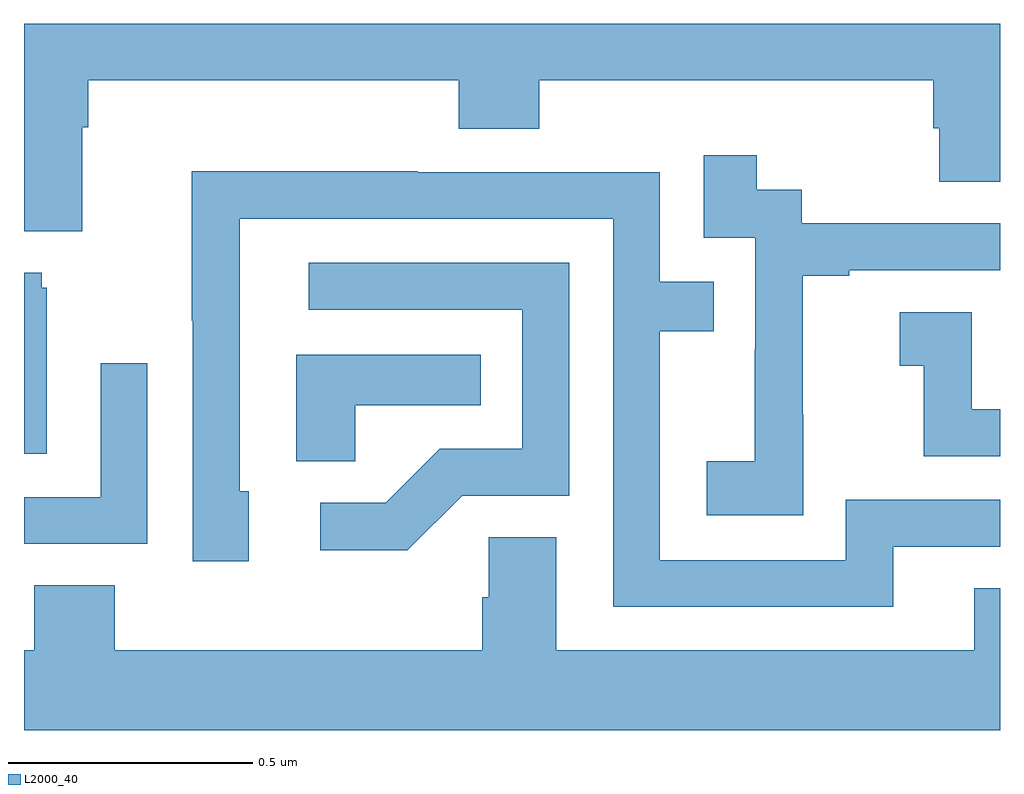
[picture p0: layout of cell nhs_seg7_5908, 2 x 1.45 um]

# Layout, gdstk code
import gdstk
lib = gdstk.Library(unit=1e-6, precision=1e-09)
def P(c, l, *ps):  # polygons
    for p in ps: c.add(gdstk.Polygon(p, *l))
L2000_40 = (2000, 40)

nhs_seg7_5908 = lib.new_cell('nhs_seg7_5908')
P(nhs_seg7_5908, L2000_40, [(191.119,1065.788),(191.132,1065.788),(191.132,1065.884),(191.891,1065.884),(191.891,1065.785),(192.056,1065.785),(192.056,1065.884),(192.863,1065.884),(192.863,1065.786),(192.875,1065.786),(192.875,1065.676),(193,1065.676),(193,1066),(191,1066),(191,1065.575),(191.119,1065.575)],
  [(192.597,1065.199),(192.596,1065.199),(192.596,1065.483),(192.691,1065.483),(192.691,1065.495),(193,1065.495),(193,1065.591),(192.594,1065.591),(192.594,1065.66),(192.502,1065.66),(192.502,1065.73),(192.393,1065.73),(192.393,1065.561),(192.498,1065.561),(192.498,1065.332),(192.497,1065.332),(192.497,1065.103),(192.399,1065.103),(192.399,1064.993),(192.597,1064.993)],
  [(192.781,1064.928),(193,1064.928),(193,1065.024),(192.684,1065.024),(192.684,1064.901),(192.303,1064.901),(192.303,1065.37),(192.413,1065.37),(192.413,1065.471),(192.303,1065.471),(192.303,1065.696),(191.807,1065.696),(191.807,1065.698),(191.344,1065.698),(191.344,1065.391),(191.346,1065.391),(191.346,1064.898),(191.461,1064.898),(191.461,1065.042),(191.442,1065.042),(191.442,1065.6),(192.207,1065.6),(192.207,1064.805),(192.781,1064.805)],
  [(191.898,1065.033),(192.117,1065.033),(192.117,1065.51),(191.583,1065.51),(191.583,1065.414),(192.021,1065.414),(192.021,1065.129),(191.852,1065.129),(191.741,1065.018),(191.607,1065.018),(191.607,1064.921),(191.785,1064.921)],
  [(191.047,1065.459),(191.036,1065.459),(191.036,1065.49),(191,1065.49),(191,1065.119),(191.047,1065.119)],
  [(193,1065.21),(192.942,1065.21),(192.942,1065.409),(192.795,1065.409),(192.795,1065.299),(192.844,1065.299),(192.844,1065.114),(193,1065.114)],
  [(191.679,1065.218),(191.936,1065.218),(191.936,1065.322),(191.558,1065.322),(191.558,1065.103),(191.679,1065.103)],
  [(191.253,1065.304),(191.157,1065.304),(191.157,1065.03),(191,1065.03),(191,1064.934),(191.253,1064.934)],
  [(193,1064.843),(192.947,1064.843),(192.947,1064.716),(192.091,1064.716),(192.091,1064.948),(191.952,1064.948),(191.952,1064.825),(191.939,1064.825),(191.939,1064.716),(191.186,1064.716),(191.186,1064.849),(191.021,1064.849),(191.021,1064.716),(191,1064.716),(191,1064.552),(193,1064.552)])

lib.write_gds('nhs_seg7_5908.gds')
